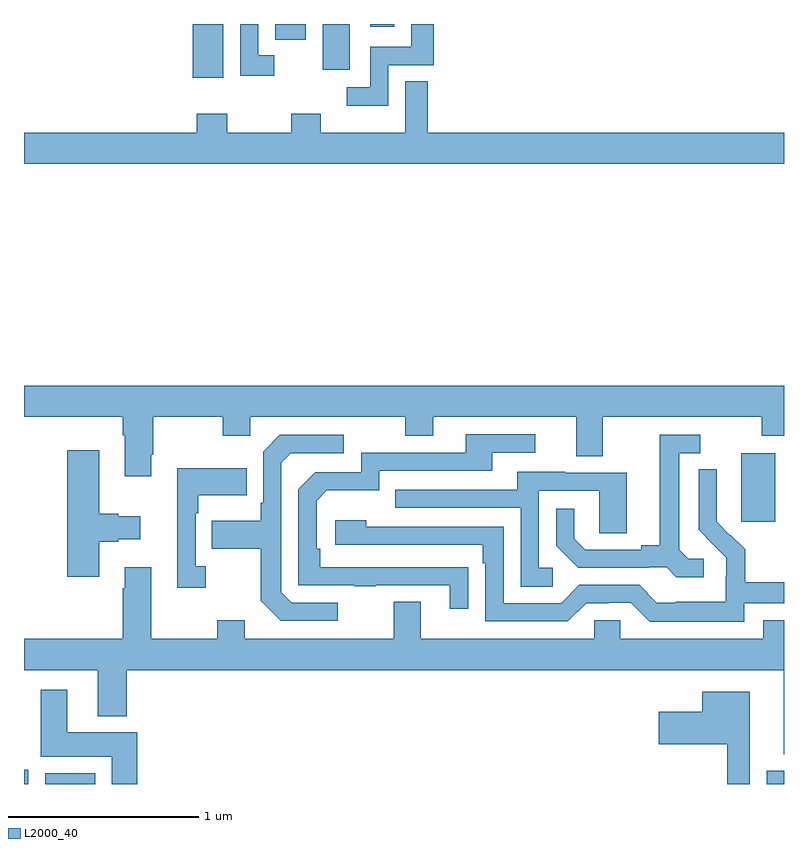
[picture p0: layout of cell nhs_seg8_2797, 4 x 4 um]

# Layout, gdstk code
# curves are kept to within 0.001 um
import gdstk
lib = gdstk.Library(unit=1e-6, precision=1e-09)
def R(c, l, rs):  # rectangles x0, y0, x1, y1
    for r in rs: c.add(gdstk.rectangle(r[:2], r[2:], *l))
def P(c, l, *ps):  # polygons
    for p in ps: c.add(gdstk.Polygon(p, *l))
L2000_40 = (2000, 40)

nhs_seg8_2797 = lib.new_cell('nhs_seg8_2797')
R(nhs_seg8_2797, L2000_40, [(287,1115.9,287.023,1115.974), (287.111,1115.9,287.374,1115.956), (290.909,1115.9,291,1115.971), (290.774,1117.281,290.953,1117.642), (287.888,1119.618,288.049,1119.9), (288.572,1119.66,288.715,1119.9), (288.323,1119.816,288.484,1119.9), (288.822,1119.885,288.949,1119.9)])
P(nhs_seg8_2797, L2000_40, [(288.918,1119.684),(289.156,1119.684),(289.156,1119.9),(289.037,1119.9),(289.037,1119.78),(288.822,1119.78),(288.822,1119.567),(288.699,1119.567),(288.699,1119.47),(288.918,1119.47)],
  [(288.316,1119.735),(288.234,1119.735),(288.234,1119.9),(288.138,1119.9),(288.138,1119.627),(288.316,1119.627)],
  [(291,1119.328),(289.126,1119.328),(289.126,1119.599),(289.007,1119.599),(289.007,1119.328),(288.561,1119.328),(288.561,1119.427),(288.406,1119.427),(288.406,1119.328),(288.069,1119.328),(288.069,1119.427),(287.909,1119.427),(287.909,1119.328),(287,1119.328),(287,1119.164),(291,1119.164)],
  [(287.671,1117.633),(287.679,1117.633),(287.679,1117.832),(288.046,1117.832),(288.046,1117.733),(288.192,1117.733),(288.192,1117.832),(289.006,1117.832),(289.006,1117.733),(289.153,1117.733),(289.153,1117.832),(289.907,1117.832),(289.907,1117.624),(290.047,1117.624),(290.047,1117.832),(290.884,1117.832),(290.884,1117.733),(291,1117.733),(291,1117.996),(287,1117.996),(287,1117.832),(287.519,1117.832),(287.519,1117.736),(287.531,1117.736),(287.531,1117.521),(287.671,1117.521)],
  [(289.337,1117.04),(288.56,1117.041),(288.56,1117.138),(288.54,1117.138),(288.54,1117.392),(288.593,1117.445),(288.87,1117.445),(288.87,1117.548),(289.465,1117.548),(289.465,1117.644),(289.69,1117.644),(289.69,1117.74),(289.325,1117.74),(289.325,1117.644),(288.774,1117.644),(288.774,1117.542),(288.534,1117.542),(288.444,1117.452),(288.444,1116.945),(288.739,1116.945),(288.739,1116.94),(288.851,1116.94),(288.851,1116.945),(289.241,1116.945),(289.241,1116.822),(289.337,1116.822)],
  [(290.578,1117.086),(290.496,1117.086),(290.449,1117.133),(290.449,1117.641),(290.56,1117.641),(290.56,1117.737),(290.345,1117.737),(290.345,1117.157),(290.249,1117.157),(290.249,1117.134),(289.954,1117.134),(289.897,1117.191),(289.897,1117.348),(289.8,1117.348),(289.8,1117.154),(289.916,1117.038),(290.288,1117.038),(290.288,1117.041),(290.382,1117.041),(290.434,1116.989),(290.578,1116.989)],
  [(288.652,1116.855),(288.408,1116.855),(288.354,1116.909),(288.354,1117.59),(288.405,1117.641),(288.682,1117.641),(288.682,1117.737),(288.345,1117.737),(288.258,1117.65),(288.258,1117.381),(288.246,1117.381),(288.246,1117.285),(287.989,1117.285),(287.989,1117.138),(288.246,1117.138),(288.246,1116.865),(288.351,1116.759),(288.652,1116.759)],
  [(287.395,1117.175),(287.495,1117.175),(287.495,1117.187),(287.611,1117.187),(287.611,1117.309),(287.495,1117.309),(287.495,1117.322),(287.395,1117.322),(287.395,1117.657),(287.228,1117.657),(287.228,1116.99),(287.395,1116.99)],
  [(287.956,1117.046),(287.904,1117.046),(287.904,1117.325),(287.917,1117.325),(287.917,1117.421),(288.173,1117.421),(288.173,1117.561),(287.807,1117.561),(287.807,1116.933),(287.956,1116.933)],
  [(290.79,1116.852),(291,1116.852),(291,1116.961),(290.795,1116.961),(290.795,1117.135),(290.718,1117.212),(290.715,1117.209),(290.645,1117.28),(290.646,1117.556),(290.55,1117.556),(290.55,1117.238),(290.696,1117.09),(290.696,1116.993),(290.694,1116.993),(290.694,1116.859),(290.431,1116.859),(290.431,1116.855),(290.331,1116.855),(290.238,1116.948),(289.923,1116.948),(289.827,1116.852),(289.524,1116.852),(289.524,1117.254),(288.8,1117.254),(288.8,1117.288),(288.639,1117.288),(288.639,1117.158),(289.415,1117.158),(289.415,1117.061),(289.428,1117.061),(289.428,1116.756),(289.863,1116.756),(289.959,1116.852),(290.078,1116.852),(290.078,1116.855),(290.193,1116.855),(290.293,1116.755),(290.79,1116.755)],
  [(289.783,1117.038),(289.71,1117.038),(289.71,1117.443),(290.028,1117.443),(290.028,1117.219),(290.173,1117.219),(290.173,1117.539),(289.849,1117.539),(289.849,1117.543),(289.595,1117.543),(289.595,1117.449),(288.955,1117.449),(288.955,1117.353),(289.614,1117.353),(289.614,1116.937),(289.783,1116.937)],
  [(291,1116.763),(290.891,1116.763),(290.891,1116.664),(290.139,1116.664),(290.139,1116.762),(290.001,1116.762),(290.001,1116.664),(289.087,1116.664),(289.087,1116.859),(288.947,1116.859),(288.947,1116.664),(288.163,1116.664),(288.163,1116.763),(288.016,1116.763),(288.016,1116.664),(287.671,1116.664),(287.671,1117.042),(287.531,1117.042),(287.531,1116.929),(287.519,1116.929),(287.519,1116.664),(287,1116.664),(287,1116.5),(287.387,1116.5),(287.387,1116.257),(287.54,1116.257),(287.54,1116.5),(290.999,1116.5),(290.999,1116.056),(291,1116.056)],
  [(287.597,1116.172),(287.227,1116.172),(287.227,1116.397),(287.087,1116.397),(287.087,1116.044),(287.462,1116.044),(287.462,1115.9),(287.597,1115.9)],
  [(290.821,1116.385),(290.57,1116.385),(290.57,1116.28),(290.34,1116.28),(290.34,1116.11),(290.7,1116.11),(290.7,1115.9),(290.821,1115.9)])

lib.write_gds('nhs_seg8_2797.gds')
